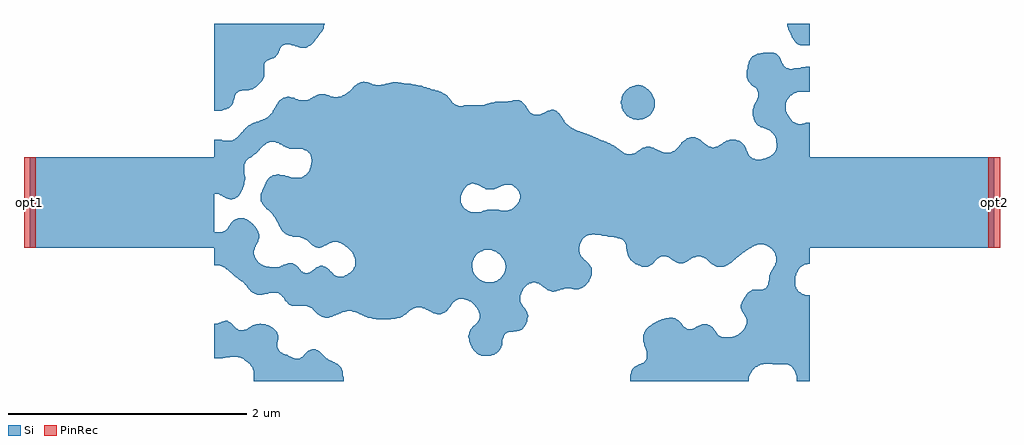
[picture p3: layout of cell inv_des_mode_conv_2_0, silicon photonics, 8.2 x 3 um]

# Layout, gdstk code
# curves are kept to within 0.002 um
import gdstk
lib = gdstk.Library(unit=1e-6, precision=1e-09)
def R(c, l, rs):  # rectangles x0, y0, x1, y1
    for r in rs: c.add(gdstk.rectangle(r[:2], r[2:], *l))
def P(c, l, *ps):  # polygons
    for p in ps: c.add(gdstk.Polygon(p, *l))
Si = (1, 0)
PinRec = (1, 10)

inv_des_mode_conv_2_0 = lib.new_cell('inv_des_mode_conv_2_0')
R(inv_des_mode_conv_2_0, Si, [(-4.05,-0.38,-2.5,0.38), (-4.05,-0.38,-2.5,0.38), (2.5,-0.38,4.05,0.38), (2.5,-0.38,4.05,0.38)])
P(inv_des_mode_conv_2_0, Si, [(-2.5,0.771),(-2.5,1.5),(-1.575,1.5),(-1.583,1.46),(-1.59,1.453),(-1.595,1.44),(-1.62,1.41),(-1.632,1.39),(-1.65,1.371),(-1.663,1.35),(-1.69,1.322),(-1.7,1.316),(-1.73,1.302),(-1.77,1.301),(-1.79,1.304),(-1.798,1.31),(-1.82,1.313),(-1.829,1.32),(-1.85,1.322),(-1.864,1.33),(-1.9,1.331),(-1.926,1.32),(-1.94,1.307),(-1.942,1.3),(-1.95,1.292),(-1.952,1.28),(-1.96,1.271),(-1.961,1.26),(-1.972,1.24),(-1.99,1.221),(-2,1.214),(-2.016,1.21),(-2.03,1.202),(-2.044,1.2),(-2.062,1.19),(-2.072,1.18),(-2.081,1.16),(-2.081,1.07),(-2.085,1.05),(-2.09,1.044),(-2.093,1.03),(-2.14,0.98),(-2.16,0.963),(-2.171,0.96),(-2.18,0.952),(-2.195,0.95),(-2.21,0.942),(-2.276,0.94),(-2.302,0.93),(-2.32,0.913),(-2.33,0.896),(-2.333,0.87),(-2.34,0.855),(-2.345,0.83),(-2.351,0.82),(-2.38,0.792),(-2.39,0.79),(-2.4,0.782),(-2.422,0.78),(-2.44,0.772)],
  [(2.43,1.321),(2.42,1.322),(2.4,1.331),(2.362,1.37),(2.36,1.38),(2.352,1.39),(2.35,1.4),(2.342,1.41),(2.34,1.421),(2.332,1.43),(2.33,1.441),(2.323,1.45),(2.32,1.469),(2.313,1.48),(2.312,1.5),(2.5,1.5),(2.5,1.322)],
  [(1.06,0.695),(1.04,0.7),(1.01,0.702),(1.001,0.71),(0.99,0.712),(0.96,0.734),(0.932,0.77),(0.931,0.78),(0.923,0.79),(0.92,0.82),(0.914,0.84),(0.922,0.89),(0.93,0.9),(0.931,0.91),(0.956,0.94),(0.99,0.968),(1.001,0.97),(1.01,0.978),(1.031,0.98),(1.04,0.985),(1.06,0.988),(1.08,0.984),(1.086,0.98),(1.1,0.979),(1.12,0.969),(1.15,0.944),(1.178,0.91),(1.18,0.9),(1.188,0.89),(1.19,0.877),(1.196,0.87),(1.199,0.85),(1.199,0.8),(1.189,0.78),(1.188,0.77),(1.166,0.74),(1.13,0.712),(1.119,0.71),(1.11,0.703),(1.078,0.7)],
  [(-2.169,-1.5),(-2.17,-1.416),(-2.18,-1.389),(-2.21,-1.35),(-2.264,-1.31),(-2.29,-1.299),(-2.32,-1.297),(-2.404,-1.3),(-2.43,-1.308),(-2.5,-1.309),(-2.5,-1.019),(-2.449,-1.01),(-2.44,-1.003),(-2.423,-1),(-2.41,-0.994),(-2.39,-0.995),(-2.36,-1.013),(-2.327,-1.05),(-2.302,-1.07),(-2.27,-1.074),(-2.24,-1.071),(-2.23,-1.063),(-2.22,-1.061),(-2.18,-1.033),(-2.166,-1.03),(-2.15,-1.022),(-2.08,-1.022),(-2.07,-1.024),(-2.06,-1.031),(-2.05,-1.031),(-2.036,-1.04),(-2.036,-1.5)],
  [(-2.036,-1.5),(-2.036,-1.04),(-2.01,-1.052),(-1.974,-1.09),(-1.962,-1.13),(-1.963,-1.15),(-1.97,-1.168),(-1.97,-1.222),(-1.961,-1.24),(-1.94,-1.261),(-1.93,-1.264),(-1.924,-1.27),(-1.91,-1.273),(-1.901,-1.28),(-1.89,-1.281),(-1.878,-1.29),(-1.87,-1.291),(-1.857,-1.3),(-1.84,-1.304),(-1.832,-1.31),(-1.8,-1.312),(-1.78,-1.31),(-1.755,-1.29),(-1.72,-1.253),(-1.7,-1.241),(-1.68,-1.233),(-1.66,-1.232),(-1.644,-1.24),(-1.63,-1.243),(-1.56,-1.31),(-1.55,-1.313),(-1.527,-1.33),(-1.51,-1.335),(-1.505,-1.34),(-1.49,-1.343),(-1.483,-1.35),(-1.46,-1.362),(-1.442,-1.38),(-1.422,-1.42),(-1.414,-1.48),(-1.414,-1.5)],
  [(-2.36,0.024),(-2.4,0.034),(-2.459,0.07),(-2.5,0.073),(-2.5,0.529),(-2.45,0.528),(-2.44,0.526),(-2.431,0.52),(-2.42,0.519),(-2.349,0.52),(-2.34,0.528),(-2.33,0.529),(-2.305,0.55),(-2.243,0.62),(-2.21,0.649),(-2.186,0.66),(-2.18,0.666),(-2.16,0.67),(-2.16,0.404),(-2.17,0.4),(-2.19,0.382),(-2.21,0.371),(-2.24,0.34),(-2.242,0.33),(-2.25,0.32),(-2.25,0.244),(-2.244,0.23),(-2.242,0.2),(-2.244,0.18),(-2.25,0.168),(-2.252,0.14),(-2.26,0.13),(-2.263,0.11),(-2.27,0.102),(-2.273,0.09),(-2.293,0.06),(-2.31,0.044),(-2.32,0.04),(-2.33,0.031),(-2.344,0.03)],
  [(-2.16,-0.768),(-2.19,-0.748),(-2.217,-0.72),(-2.23,-0.7),(-2.26,-0.67),(-2.33,-0.619),(-2.371,-0.58),(-2.41,-0.549),(-2.42,-0.546),(-2.427,-0.54),(-2.44,-0.537),(-2.448,-0.53),(-2.5,-0.527),(-2.5,-0.251),(-2.438,-0.25),(-2.412,-0.24),(-2.39,-0.221),(-2.369,-0.19),(-2.366,-0.18),(-2.34,-0.152),(-2.33,-0.144),(-2.3,-0.132),(-2.25,-0.133),(-2.241,-0.14),(-2.23,-0.141),(-2.218,-0.15),(-2.21,-0.152),(-2.16,-0.201),(-2.16,-0.376),(-2.17,-0.415),(-2.16,-0.462)],
  [(-2.16,0.404),(-2.16,0.67),(-2.15,0.678),(-2.129,0.68),(-2.12,0.687),(-2.1,0.69),(-2.09,0.698),(-2.079,0.7),(-2.07,0.708),(-2.061,0.71),(-2.05,0.719),(-2.01,0.76),(-2.008,0.77),(-2,0.778),(-1.997,0.79),(-1.97,0.83),(-1.967,0.84),(-1.95,0.858),(-1.95,0.491),(-1.96,0.5),(-1.98,0.503),(-1.989,0.51),(-2,0.511),(-2.033,0.51),(-2.05,0.501),(-2.06,0.5),(-2.097,0.47),(-2.132,0.43)],
  [(-1.95,-0.204),(-1.969,-0.17),(-1.97,-0.161),(-1.99,-0.128),(-2.02,-0.09),(-2.075,-0.04),(-2.099,-0.01),(-2.1,-0.002),(-2.109,0.01),(-2.111,0.04),(-2.108,0.08),(-2.1,0.09),(-2.096,0.11),(-2.09,0.116),(-2.087,0.13),(-2.079,0.14),(-2.078,0.15),(-2.07,0.159),(-2.068,0.17),(-2.059,0.18),(-2.055,0.19),(-2.03,0.217),(-2.019,0.22),(-2.01,0.228),(-1.97,0.236),(-1.95,0.233)],
  [(-2.16,-0.376),(-2.16,-0.201),(-2.133,-0.24),(-2.122,-0.28),(-2.123,-0.3),(-2.13,-0.312),(-2.133,-0.33),(-2.14,-0.337),(-2.144,-0.35)],
  [(-2.13,-0.777),(-2.144,-0.77),(-2.16,-0.768),(-2.16,-0.462),(-2.153,-0.47),(-2.15,-0.481),(-2.132,-0.5),(-2.11,-0.52),(-2.1,-0.522),(-2.091,-0.53),(-2.07,-0.534),(-2.062,-0.54),(-2.01,-0.544),(-1.95,-0.54),(-1.95,-0.769),(-1.962,-0.76),(-2,-0.757),(-2.043,-0.76),(-2.06,-0.768),(-2.086,-0.77),(-2.1,-0.776)],
  [(-1.95,0.01),(-1.95,0.233),(-1.944,0.23),(-1.91,0.228),(-1.898,0.22),(-1.87,0.218),(-1.85,0.209),(-1.77,0.21),(-1.76,0.218),(-1.75,0.219),(-1.734,0.23),(-1.72,0.243),(-1.7,0.27),(-1.699,0.28),(-1.689,0.3),(-1.682,0.35),(-1.69,0.399),(-1.71,0.424),(-1.729,0.44),(-1.75,0.444),(-1.76,0.45),(-1.87,0.453),(-1.88,0.46),(-1.9,0.464),(-1.907,0.47),(-1.92,0.474),(-1.942,0.49),(-1.95,0.491),(-1.95,0.858),(-1.92,0.879),(-1.906,0.88),(-1.89,0.887),(-1.87,0.887),(-1.854,0.88),(-1.83,0.878),(-1.82,0.87),(-1.8,0.867),(-1.791,0.86),(-1.75,0.857),(-1.72,0.859),(-1.694,0.87),(-1.67,0.887),(-1.67,0.01)],
  [(-1.67,-0.364),(-1.68,-0.358),(-1.72,-0.319),(-1.749,-0.3),(-1.77,-0.296),(-1.778,-0.29),(-1.84,-0.286),(-1.85,-0.28),(-1.88,-0.276),(-1.887,-0.27),(-1.9,-0.266),(-1.938,-0.23),(-1.95,-0.204),(-1.95,0.01),(-1.67,0.01)],
  [(-1.67,-0.899),(-1.679,-0.89),(-1.696,-0.88),(-1.71,-0.876),(-1.717,-0.87),(-1.84,-0.869),(-1.85,-0.868),(-1.862,-0.86),(-1.87,-0.859),(-1.908,-0.82),(-1.93,-0.787),(-1.95,-0.769),(-1.95,-0.54),(-1.94,-0.532),(-1.926,-0.53),(-1.91,-0.521),(-1.9,-0.52),(-1.89,-0.513),(-1.84,-0.512),(-1.81,-0.532),(-1.767,-0.58),(-1.753,-0.59),(-1.73,-0.594),(-1.7,-0.59),(-1.67,-0.568)],
  [(-1.67,0.01),(-1.67,0.887),(-1.659,0.89),(-1.65,0.898),(-1.638,0.9),(-1.63,0.907),(-1.62,0.909),(-1.57,0.908),(-1.554,0.9),(-1.54,0.899),(-1.52,0.889),(-1.47,0.885),(-1.433,0.89),(-1.42,0.899),(-1.411,0.9),(-1.37,0.93),(-1.3,0.996),(-1.288,1),(-1.28,1.007),(-1.246,1.014),(-1.246,0.01)],
  [(-1.57,-0.968),(-1.587,-0.96),(-1.6,-0.959),(-1.61,-0.95),(-1.62,-0.947),(-1.67,-0.899),(-1.67,-0.568),(-1.64,-0.543),(-1.61,-0.533),(-1.59,-0.533),(-1.55,-0.553),(-1.492,-0.61),(-1.474,-0.62),(-1.44,-0.623),(-1.409,-0.62),(-1.4,-0.612),(-1.39,-0.611),(-1.36,-0.59),(-1.34,-0.57),(-1.32,-0.54),(-1.316,-0.49),(-1.32,-0.459),(-1.328,-0.45),(-1.329,-0.44),(-1.35,-0.41),(-1.391,-0.37),(-1.4,-0.367),(-1.42,-0.35),(-1.43,-0.348),(-1.439,-0.34),(-1.46,-0.336),(-1.47,-0.33),(-1.504,-0.33),(-1.52,-0.338),(-1.53,-0.339),(-1.54,-0.347),(-1.55,-0.349),(-1.56,-0.358),(-1.57,-0.36),(-1.58,-0.369),(-1.59,-0.37),(-1.6,-0.378),(-1.64,-0.378),(-1.67,-0.364),(-1.67,0.01),(-1.246,0.01),(-1.246,-0.95),(-1.26,-0.947),(-1.268,-0.94),(-1.28,-0.937),(-1.29,-0.929),(-1.3,-0.928),(-1.311,-0.92),(-1.34,-0.916),(-1.352,-0.91),(-1.384,-0.91),(-1.4,-0.917),(-1.426,-0.92),(-1.44,-0.929),(-1.451,-0.93),(-1.46,-0.938),(-1.473,-0.94),(-1.48,-0.947),(-1.496,-0.95),(-1.51,-0.959),(-1.526,-0.96),(-1.54,-0.967)],
  [(-1.246,0.01),(-1.246,1.014),(-1.2,1.006),(-1.193,1),(-1.18,0.998),(-1.17,0.99),(-1.13,0.984),(-1.073,0.99),(-1.06,0.998),(-1.034,1),(-1.02,1.007),(-1,1.009),(-0.93,1.006),(-0.913,1),(-0.86,0.998),(-0.835,0.99),(-0.79,0.987),(-0.78,0.98),(-0.76,0.979),(-0.742,0.97),(-0.72,0.967),(-0.71,0.96),(-0.69,0.958),(-0.677,0.95),(-0.66,0.949),(-0.642,0.94),(-0.62,0.937),(-0.611,0.93),(-0.59,0.925),(-0.56,0.908),(-0.55,0.899),(-0.522,0.87),(-0.5,0.84),(-0.488,0.83),(-0.47,0.819),(-0.46,0.818),(-0.442,0.81),(-0.411,0.81),(-0.411,0.1),(-0.43,0.054),(-0.431,0.01)],
  [(-1.246,-0.54),(-1.246,0.01),(-0.431,0.01),(-0.43,0),(-0.43,-0.001),(-0.423,-0.01),(-0.421,-0.02),(-0.42,-0.022),(-0.413,-0.03),(-0.411,-0.035),(-0.411,-0.54)],
  [(-1.14,-0.979),(-1.16,-0.978),(-1.181,-0.97),(-1.21,-0.967),(-1.219,-0.96),(-1.24,-0.956),(-1.246,-0.95),(-1.246,-0.54),(-0.411,-0.54),(-0.411,-0.809),(-0.445,-0.81),(-0.46,-0.818),(-0.471,-0.82),(-0.5,-0.848),(-0.51,-0.86),(-0.513,-0.87),(-0.538,-0.9),(-0.57,-0.928),(-0.584,-0.93),(-0.6,-0.938),(-0.63,-0.938),(-0.645,-0.93),(-0.66,-0.929),(-0.673,-0.92),(-0.7,-0.909),(-0.71,-0.9),(-0.72,-0.899),(-0.732,-0.89),(-0.75,-0.888),(-0.77,-0.879),(-0.804,-0.88),(-0.82,-0.888),(-0.83,-0.889),(-0.84,-0.898),(-0.848,-0.9),(-0.89,-0.937),(-0.92,-0.958),(-0.932,-0.96),(-0.94,-0.967),(-0.966,-0.97),(-0.99,-0.978)],
  [(-0.411,0.1),(-0.411,0.81),(-0.4,0.815),(-0.37,0.819),(-0.24,0.819),(-0.229,0.82),(-0.22,0.827),(-0.2,0.829),(-0.2,0.11),(-0.22,0.112),(-0.229,0.12),(-0.24,0.122),(-0.249,0.13),(-0.26,0.133),(-0.286,0.15),(-0.33,0.16),(-0.363,0.15),(-0.37,0.143),(-0.38,0.14),(-0.4,0.118),(-0.402,0.11)],
  [(-0.411,-0.54),(-0.411,-0.035),(-0.4,-0.05),(-0.38,-0.061),(-0.371,-0.07),(-0.34,-0.081),(-0.259,-0.08),(-0.25,-0.073),(-0.23,-0.071),(-0.22,-0.065),(-0.2,-0.061),(-0.2,-0.399),(-0.236,-0.4),(-0.25,-0.408),(-0.261,-0.41),(-0.3,-0.44),(-0.31,-0.451),(-0.312,-0.46),(-0.32,-0.468),(-0.323,-0.48),(-0.33,-0.489),(-0.333,-0.54)],
  [(-0.24,-1.289),(-0.26,-1.286),(-0.267,-1.28),(-0.28,-1.278),(-0.314,-1.25),(-0.337,-1.22),(-0.339,-1.21),(-0.347,-1.2),(-0.35,-1.183),(-0.358,-1.17),(-0.36,-1.144),(-0.366,-1.13),(-0.366,-1.12),(-0.357,-1.08),(-0.335,-1.05),(-0.29,-1.009),(-0.287,-1),(-0.28,-0.993),(-0.27,-0.965),(-0.27,-0.944),(-0.277,-0.93),(-0.28,-0.909),(-0.288,-0.9),(-0.29,-0.89),(-0.326,-0.85),(-0.35,-0.83),(-0.36,-0.828),(-0.37,-0.82),(-0.39,-0.817),(-0.402,-0.81),(-0.411,-0.809),(-0.411,-0.54),(-0.333,-0.54),(-0.331,-0.57),(-0.32,-0.597),(-0.293,-0.63),(-0.271,-0.65),(-0.26,-0.652),(-0.25,-0.661),(-0.23,-0.665),(-0.224,-0.67),(-0.2,-0.671),(-0.2,-1.289)],
  [(-0.127,-0.42),(-0.14,-0.41),(-0.15,-0.409),(-0.166,-0.4),(-0.2,-0.399),(-0.2,-0.061),(-0.12,-0.061),(-0.07,-0.071),(-0.039,-0.07),(-0.03,-0.064),(-0.01,-0.061),(0,-0.052),(0.01,-0.05),(0.05,-0.011),(0.053,0),(0.061,0.01),(0.07,0.04),(0.07,0.056),(0.06,0.09),(0.04,0.117),(0.012,0.14),(0,0.143),(-0.009,0.15),(-0.06,0.151),(-0.08,0.141),(-0.091,0.14),(-0.1,0.132),(-0.112,0.13),(-0.12,0.122),(-0.134,0.12),(-0.14,0.114),(-0.15,0.111),(-0.2,0.11),(-0.2,0.829),(-0.19,0.835),(-0.157,0.84),(-0.14,0.847),(-0.06,0.846),(-0.008,0.85),(0.01,0.858),(0.06,0.858),(0.07,0.855),(0.085,0.844),(0.085,-0.42)],
  [(0.34,-0.748),(0.3,-0.736),(0.24,-0.689),(0.23,-0.686),(0.223,-0.68),(0.19,-0.67),(0.18,-0.67),(0.16,-0.678),(0.146,-0.68),(0.13,-0.689),(0.1,-0.72),(0.085,-0.747),(0.085,0.844),(0.118,0.81),(0.12,0.801),(0.149,0.76),(0.159,0.75),(0.18,0.739),(0.24,0.739),(0.25,0.747),(0.263,0.75),(0.29,0.766),(0.309,0.77),(0.32,0.777),(0.35,0.778),(0.36,0.774),(0.395,0.75),(0.418,0.72),(0.42,0.712),(0.437,0.69),(0.44,0.68),(0.48,0.639),(0.5,0.629),(0.509,0.62),(0.52,0.618),(0.529,0.61),(0.54,0.609),(0.555,0.6),(0.57,0.598),(0.581,0.59),(0.6,0.588),(0.61,0.58),(0.62,0.579),(0.62,-0.285),(0.6,-0.299),(0.59,-0.312),(0.588,-0.32),(0.58,-0.328),(0.578,-0.34),(0.57,-0.349),(0.566,-0.39),(0.569,-0.43),(0.579,-0.45),(0.62,-0.491),(0.62,-0.695),(0.59,-0.718),(0.58,-0.719),(0.56,-0.728),(0.52,-0.728),(0.493,-0.72),(0.446,-0.72),(0.43,-0.728),(0.408,-0.73),(0.4,-0.737),(0.376,-0.74),(0.36,-0.747)],
  [(0.085,-1.063),(0.085,-0.86),(0.09,-0.871),(0.116,-0.9),(0.12,-0.911),(0.128,-0.92),(0.13,-0.936),(0.136,-0.95),(0.128,-1),(0.12,-1.01),(0.119,-1.02),(0.11,-1.03),(0.107,-1.04)],
  [(1.1,-0.539),(1.09,-0.538),(1.076,-0.53),(1.06,-0.527),(1.05,-0.519),(1.04,-0.517),(1.01,-0.495),(0.995,-0.48),(0.981,-0.46),(0.972,-0.44),(0.97,-0.418),(0.963,-0.4),(0.961,-0.36),(0.95,-0.335),(0.94,-0.32),(0.907,-0.3),(0.88,-0.297),(0.865,-0.29),(0.81,-0.287),(0.797,-0.28),(0.76,-0.278),(0.73,-0.269),(0.65,-0.269),(0.625,-0.28),(0.62,-0.285),(0.62,0.579),(0.63,0.577),(0.64,0.569),(0.65,0.569),(0.663,0.56),(0.68,0.556),(0.687,0.55),(0.7,0.547),(0.71,0.539),(0.72,0.538),(0.729,0.53),(0.74,0.529),(0.754,0.52),(0.77,0.517),(0.779,0.51),(0.79,0.509),(0.805,0.5),(0.82,0.497),(0.828,0.49),(0.84,0.487),(0.9,0.446),(0.931,0.42),(0.94,0.418),(0.95,0.41),(0.99,0.404),(1.024,0.41),(1.08,0.448),(1.12,0.466),(1.12,-0.539)],
  [(0.62,-0.695),(0.62,-0.491),(0.658,-0.53),(0.66,-0.54),(0.668,-0.55),(0.67,-0.58),(0.667,-0.62),(0.66,-0.628),(0.658,-0.64),(0.65,-0.649),(0.648,-0.66)],
  [(1.12,-1.216),(1.115,-1.21),(1.111,-1.2),(1.111,-1.19),(1.105,-1.18),(1.101,-1.16),(1.101,-1.12),(1.103,-1.11),(1.11,-1.102),(1.112,-1.09),(1.12,-1.081)],
  [(0.992,-1.5),(0.992,-1.46),(1,-1.436),(1.001,-1.42),(1.012,-1.4),(1.04,-1.374),(1.1,-1.35),(1.12,-1.332),(1.12,-1.5)],
  [(1.12,-0.539),(1.12,0.466),(1.16,0.467),(1.174,0.46),(1.19,0.458),(1.201,0.45),(1.21,0.449),(1.225,0.44),(1.24,0.436),(1.247,0.43),(1.26,0.428),(1.275,0.42),(1.336,0.42),(1.35,0.429),(1.359,0.43),(1.37,0.439),(1.401,0.47),(1.44,0.516),(1.47,0.538),(1.484,0.54),(1.5,0.548),(1.54,0.547),(1.55,0.54),(1.56,0.539),(1.58,0.528),(1.61,0.5),(1.627,0.489),(1.627,-0.47),(1.62,-0.468),(1.611,-0.46),(1.6,-0.459),(1.576,-0.45),(1.56,-0.45),(1.527,-0.46),(1.52,-0.466),(1.508,-0.47),(1.5,-0.478),(1.49,-0.48),(1.47,-0.497),(1.457,-0.5),(1.45,-0.506),(1.44,-0.509),(1.4,-0.509),(1.39,-0.508),(1.38,-0.5),(1.37,-0.498),(1.315,-0.46),(1.3,-0.457),(1.29,-0.45),(1.262,-0.45),(1.238,-0.46),(1.224,-0.47),(1.17,-0.525),(1.15,-0.537)],
  [(1.12,-1.5),(1.12,-1.332),(1.13,-1.319),(1.133,-1.29),(1.13,-1.244),(1.122,-1.23),(1.12,-1.216),(1.12,-1.08),(1.133,-1.06),(1.15,-1.043),(1.19,-1.013),(1.2,-1.011),(1.23,-0.993),(1.247,-0.99),(1.26,-0.982),(1.275,-0.98),(1.29,-0.972),(1.33,-0.969),(1.37,-0.973),(1.378,-0.98),(1.39,-0.984),(1.418,-1.01),(1.44,-1.04),(1.47,-1.061),(1.5,-1.063),(1.526,-1.06),(1.57,-1.034),(1.587,-1.03),(1.6,-1.023),(1.627,-1.022),(1.627,-1.5)],
  [(1.989,1.016),(1.976,1.04),(1.972,1.05),(1.971,1.06),(1.971,1.1),(1.976,1.12),(1.98,1.126),(1.983,1.16),(1.989,1.169)],
  [(1.74,-0.54),(1.72,-0.539),(1.69,-0.525),(1.627,-0.47),(1.627,0.489),(1.652,0.47),(1.69,0.462),(1.73,0.47),(1.8,0.517),(1.815,0.52),(1.83,0.528),(1.88,0.528),(1.896,0.52),(1.91,0.518),(1.944,0.49),(1.959,0.47),(1.96,0.463),(1.969,0.45),(1.97,0.439),(1.977,0.43),(1.98,0.417),(1.986,0.41),(1.989,0.4),(1.989,-0.39),(1.93,-0.429),(1.84,-0.508),(1.832,-0.51),(1.81,-0.526),(1.78,-0.538)],
  [(1.627,-1.5),(1.627,-1.022),(1.64,-1.023),(1.65,-1.03),(1.66,-1.031),(1.68,-1.045),(1.73,-1.11),(1.74,-1.12),(1.75,-1.123),(1.758,-1.13),(1.8,-1.134),(1.85,-1.131),(1.87,-1.122),(1.884,-1.12),(1.89,-1.114),(1.902,-1.11),(1.928,-1.09),(1.95,-1.063),(1.96,-1.048),(1.971,-1.02),(1.97,-0.975),(1.96,-0.954),(1.942,-0.93),(1.94,-0.92),(1.931,-0.91),(1.93,-0.9),(1.923,-0.89),(1.922,-0.87),(1.934,-0.83),(1.973,-0.77),(1.989,-0.753),(1.989,-1.5)],
  [(2.19,0.583),(2.159,0.61),(2.15,0.611),(2.136,0.62),(2.12,0.622),(2.109,0.63),(2.09,0.633),(2.083,0.64),(2.07,0.646),(2.054,0.66),(2.034,0.69),(2.03,0.717),(2.022,0.74),(2.022,0.77),(2.034,0.82),(2.04,0.827),(2.043,0.84),(2.05,0.847),(2.06,0.866),(2.063,0.88),(2.07,0.889),(2.071,0.92),(2.05,0.96),(2.02,0.982),(1.989,1.016),(1.989,1.169),(1.993,1.19),(2.013,1.22),(2.04,1.239),(2.06,1.248),(2.087,1.25),(2.11,1.258),(2.19,1.259)],
  [(2.19,-0.399),(2.159,-0.37),(2.113,-0.35),(2.1,-0.349),(2.068,-0.35),(2.05,-0.359),(2.039,-0.36),(2.03,-0.368),(2.019,-0.37),(2.01,-0.379),(1.989,-0.39),(1.989,0.4),(2.02,0.37),(2.04,0.366),(2.05,0.36),(2.07,0.359),(2.091,0.36),(2.11,0.368),(2.133,0.37),(2.14,0.376),(2.157,0.38),(2.19,0.403)],
  [(1.989,-1.48),(1.989,-0.753),(2.02,-0.733),(2.111,-0.73),(2.13,-0.721),(2.15,-0.696),(2.153,-0.67),(2.16,-0.65),(2.163,-0.61),(2.17,-0.601),(2.171,-0.59),(2.18,-0.58),(2.182,-0.57),(2.19,-0.561),(2.19,-1.357),(2.13,-1.354),(2.089,-1.36),(2.08,-1.367),(2.068,-1.37),(2.06,-1.378),(2.052,-1.38),(2.04,-1.389),(2.02,-1.41),(2,-1.439),(1.999,-1.45),(1.99,-1.467)],
  [(-0.2,-1.289),(-0.2,-0.671),(-0.154,-0.67),(-0.14,-0.662),(-0.129,-0.66),(-0.1,-0.64),(-0.08,-0.617),(-0.06,-0.583),(-0.051,-0.54),(-0.059,-0.5),(-0.067,-0.49),(-0.069,-0.48),(-0.09,-0.45),(-0.127,-0.42),(0.085,-0.42),(0.085,-0.747),(0.07,-0.778),(0.069,-0.79),(0.07,-0.837),(0.085,-0.86),(0.085,-1.063),(0.06,-1.079),(-0.041,-1.09),(-0.054,-1.1),(-0.07,-1.119),(-0.073,-1.14),(-0.08,-1.154),(-0.083,-1.2),(-0.09,-1.209),(-0.091,-1.22),(-0.1,-1.231),(-0.103,-1.24),(-0.12,-1.258),(-0.15,-1.278),(-0.164,-1.28),(-0.18,-1.288)],
  [(2.391,-1.5),(2.391,-1.46),(2.382,-1.44),(2.38,-1.423),(2.36,-1.39),(2.336,-1.37),(2.31,-1.359),(2.19,-1.357),(2.19,-0.561),(2.21,-0.526),(2.221,-0.49),(2.22,-0.456),(2.212,-0.44),(2.21,-0.428),(2.202,-0.42),(2.2,-0.41),(2.19,-0.399),(2.19,0.403),(2.2,0.412),(2.22,0.445),(2.226,0.49),(2.221,0.53),(2.5,0.53),(2.5,-0.515),(2.46,-0.52),(2.43,-0.539),(2.419,-0.55),(2.41,-0.56),(2.39,-0.594),(2.387,-0.61),(2.38,-0.619),(2.378,-0.65),(2.38,-0.702),(2.387,-0.71),(2.39,-0.723),(2.41,-0.75),(2.44,-0.77),(2.46,-0.773),(2.471,-0.78),(2.5,-0.781),(2.5,-1.5)],
  [(2.221,0.53),(2.21,0.557),(2.19,0.583),(2.19,1.259),(2.21,1.256),(2.249,1.22),(2.26,1.192),(2.268,1.18),(2.27,1.169),(2.278,1.16),(2.28,1.152),(2.29,1.14),(2.306,1.13),(2.34,1.12),(2.352,1.12),(2.38,1.128),(2.42,1.13),(2.44,1.137),(2.5,1.139),(2.5,0.931),(2.41,0.931),(2.399,0.93),(2.39,0.924),(2.371,0.92),(2.344,0.9),(2.31,0.86),(2.308,0.85),(2.3,0.838),(2.298,0.81),(2.3,0.768),(2.307,0.76),(2.31,0.746),(2.34,0.699),(2.36,0.679),(2.399,0.66),(2.41,0.659),(2.446,0.66),(2.47,0.668),(2.5,0.669),(2.5,0.53)])
inv_des_mode_conv_2_0.add(gdstk.FlexPath([(-4,0),(-4.1,0)], 0.76, ends="flush", simple_path=True, layer=1, datatype=10))  # PinRec
inv_des_mode_conv_2_0.add(gdstk.FlexPath([(4,0),(4.1,0)], 0.76, ends="flush", simple_path=True, layer=1, datatype=10))  # PinRec
inv_des_mode_conv_2_0.add(gdstk.Label('opt2', (4.05,0), layer=1, texttype=10))
inv_des_mode_conv_2_0.add(gdstk.Label('opt1', (-4.05,0), layer=1, texttype=10))

lib.write_gds('inv_des_mode_conv_2_0.gds')
